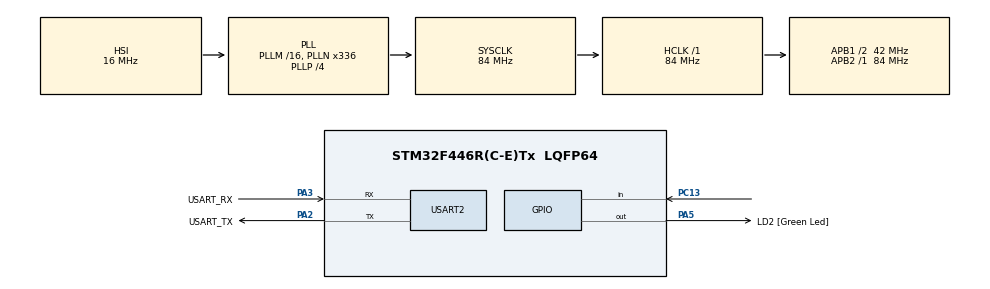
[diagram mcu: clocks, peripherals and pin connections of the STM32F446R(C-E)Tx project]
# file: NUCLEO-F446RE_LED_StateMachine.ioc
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Mcu.Family=STM32F4
Mcu.Name=STM32F446R(C-E)Tx
Mcu.Package=LQFP64
NVIC.PriorityGroup=NVIC_PRIORITYGROUP_0
PA13.GPIO_Label=TMS
PA13.Mode=Serial_Wire
PA13.Signal=SYS_JTMS-SWDIO
PA14.GPIO_Label=TCK
PA14.Mode=Serial_Wire
PA14.Signal=SYS_JTCK-SWCLK
PA2.GPIO_Label=USART_TX
PA2.Mode=Asynchronous
PA2.Signal=USART2_TX
PA3.GPIO_Label=USART_RX
PA3.Mode=Asynchronous
PA3.Signal=USART2_RX
PA5.GPIO_Label=LD2 [Green Led]
PA5.Signal=GPIO_Output
PB3.GPIO_Label=SWO
PB3.Signal=SYS_JTDO-SWO
PC13.Signal=GPIO_Input
PC14-OSC32_IN.Mode=LSE-External-Oscillator
PC14-OSC32_IN.Signal=RCC_OSC32_IN
PC15-OSC32_OUT.Mode=LSE-External-Oscillator
PC15-OSC32_OUT.Signal=RCC_OSC32_OUT
PH0-OSC_IN.Mode=HSE-External-Oscillator
PH0-OSC_IN.Signal=RCC_OSC_IN
PH1-OSC_OUT.Mode=HSE-External-Oscillator
PH1-OSC_OUT.Signal=RCC_OSC_OUT
ProjectManager.HeapSize=0x200
ProjectManager.StackSize=0x400
ProjectManager.TargetToolchain=STM32CubeIDE
RCC.48MHZClocksFreq_Value=84000000
RCC.AHBFreq_Value=84000000
RCC.APB1CLKDivider=RCC_HCLK_DIV2
RCC.APB1Freq_Value=42000000
RCC.APB1TimFreq_Value=84000000
RCC.APB2Freq_Value=84000000
RCC.APB2TimFreq_Value=84000000
RCC.CortexFreq_Value=84000000
RCC.FLatency-AdvancedSettings=FLASH_LATENCY_2
RCC.HCLKFreq_Value=84000000
RCC.HSE_VALUE=8000000
RCC.HSI_VALUE=16000000
RCC.PLLN=336
RCC.PLLP=RCC_PLLP_DIV4
RCC.SYSCLKFreq_VALUE=84000000
RCC.SYSCLKSource=RCC_SYSCLKSOURCE_PLLCLK
RCC.USBFreq_Value=168000000
RCC.VCOOutputFreq_Value=336000000
USART2.VirtualMode=VM_ASYNC
board=NUCLEO-F446RE

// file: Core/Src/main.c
/* USER CODE BEGIN Header */
/**
  ******************************************************************************
  * @file           : main.c
  * @brief          : Main program body
  ******************************************************************************
  * @attention
  *
  * Copyright (c) 2026 STMicroelectronics.
  * All rights reserved.
  *
  * This software is licensed under terms that can be found in the LICENSE file
  * in the root directory of this software component.
  * If no LICENSE file comes with this software, it is provided AS-IS.
  *
  ******************************************************************************
  */
/* USER CODE END Header */
#include "main.h"

/* USER CODE BEGIN Includes */
#include "string.h"
/* USER CODE END Includes */

UART_HandleTypeDef huart2;

/* USER CODE BEGIN PV */

typedef enum {
	STATE_OFF,
	STATE_SLOW_BLINK,
	STATE_FAST_BLINK
} LED_State;

LED_State currentState = STATE_OFF;
uint32_t lastBlinkTime = 0;
uint32_t lastPressTime = 0;
uint8_t ledToggle = 0;

/* USER CODE END PV */

void SystemClock_Config(void);
static void MX_GPIO_Init(void);
static void MX_USART2_UART_Init(void);

/* USER CODE BEGIN 0 */
void sendMessage(const char *msg){
	HAL_UART_Transmit(&huart2,(uint8_t *)msg, strlen(msg), HAL_MAX_DELAY);
}
/* USER CODE END 0 */

int main(void)
{

  /* MCU Configuration--------------------------------------------------------*/

  /* Reset of all peripherals, Initializes the Flash interface and the Systick. */
  HAL_Init();

  /* Configure the system clock */
  SystemClock_Config();

  /* Initialize all configured peripherals */
  MX_GPIO_Init();
  MX_USART2_UART_Init();

  /* Infinite loop */
  /* USER CODE BEGIN WHILE */
  while (1)
  {
	  //Button debounce check
	  if(HAL_GPIO_ReadPin(GPIOC, GPIO_PIN_13) == GPIO_PIN_RESET){
		  if(HAL_GetTick() - lastPressTime > 200){
			  lastPressTime = HAL_GetTick();

			  //Advance state
			  currentState = (currentState + 1) % 3;

			  //Reset LED and notify via UART
			  HAL_GPIO_WritePin(GPIOA, GPIO_PIN_5, GPIO_PIN_RESET);
			  ledToggle = 0;
			  lastBlinkTime = HAL_GetTick();

			  if(currentState == STATE_OFF) sendMessage("State: OFF\r\n");
		  }
	  }

	  //Blink logic
	  if(currentState == STATE_SLOW_BLINK){
		  if(HAL_GetTick() - lastBlinkTime >= 500){
			  lastBlinkTime = HAL_GetTick();
			  HAL_GPIO_TogglePin(GPIOA, GPIO_PIN_5);
			  if(ledToggle) sendMessage("You should hire me!\r\n");
			  ledToggle = !ledToggle;
		  }
	  }else if(currentState == STATE_FAST_BLINK){
		  	  if(HAL_GetTick() - lastBlinkTime >= 100){
		  		  lastBlinkTime = HAL_GetTick();
		  		  HAL_GPIO_TogglePin(GPIOA, GPIO_PIN_5);
		  		if(ledToggle) sendMessage("You should REALLY hire me!\r\n");
		  		ledToggle = !ledToggle;
		  	  }
	  }else{
		  // STATE_OFF - ensure LED is off
		  HAL_GPIO_WritePin(GPIOA, GPIO_PIN_5, GPIO_PIN_RESET);
	  }
    /* USER CODE END WHILE */

  }
}

void SystemClock_Config(void)
{
  RCC_OscInitTypeDef RCC_OscInitStruct = {0};
  RCC_ClkInitTypeDef RCC_ClkInitStruct = {0};

  /** Configure the main internal regulator output voltage
  */
  __HAL_RCC_PWR_CLK_ENABLE();
  __HAL_PWR_VOLTAGESCALING_CONFIG(PWR_REGULATOR_VOLTAGE_SCALE3);

  /** Initializes the RCC Oscillators according to the specified parameters
  * in the RCC_OscInitTypeDef structure.
  */
  RCC_OscInitStruct.OscillatorType = RCC_OSCILLATORTYPE_HSI;
  RCC_OscInitStruct.HSIState = RCC_HSI_ON;
  RCC_OscInitStruct.HSICalibrationValue = RCC_HSICALIBRATION_DEFAULT;
  RCC_OscInitStruct.PLL.PLLState = RCC_PLL_ON;
  RCC_OscInitStruct.PLL.PLLSource = RCC_PLLSOURCE_HSI;
  RCC_OscInitStruct.PLL.PLLM = 16;
  RCC_OscInitStruct.PLL.PLLN = 336;
  RCC_OscInitStruct.PLL.PLLP = RCC_PLLP_DIV4;
  RCC_OscInitStruct.PLL.PLLQ = 2;
  RCC_OscInitStruct.PLL.PLLR = 2;
  if (HAL_RCC_OscConfig(&RCC_OscInitStruct) != HAL_OK)
  {
    Error_Handler();
  }

  /** Initializes the CPU, AHB and APB buses clocks
  */
  RCC_ClkInitStruct.ClockType = RCC_CLOCKTYPE_HCLK|RCC_CLOCKTYPE_SYSCLK
                              |RCC_CLOCKTYPE_PCLK1|RCC_CLOCKTYPE_PCLK2;
  RCC_ClkInitStruct.SYSCLKSource = RCC_SYSCLKSOURCE_PLLCLK;
  RCC_ClkInitStruct.AHBCLKDivider = RCC_SYSCLK_DIV1;
  RCC_ClkInitStruct.APB1CLKDivider = RCC_HCLK_DIV2;
  RCC_ClkInitStruct.APB2CLKDivider = RCC_HCLK_DIV1;

  if (HAL_RCC_ClockConfig(&RCC_ClkInitStruct, FLASH_LATENCY_2) != HAL_OK)
  {
    Error_Handler();
  }
}

static void MX_USART2_UART_Init(void)
{

  huart2.Instance = USART2;
  huart2.Init.BaudRate = 115200;
  huart2.Init.WordLength = UART_WORDLENGTH_8B;
  huart2.Init.StopBits = UART_STOPBITS_1;
  huart2.Init.Parity = UART_PARITY_NONE;
  huart2.Init.Mode = UART_MODE_TX_RX;
  huart2.Init.HwFlowCtl = UART_HWCONTROL_NONE;
  huart2.Init.OverSampling = UART_OVERSAMPLING_16;
  if (HAL_UART_Init(&huart2) != HAL_OK)
  {
    Error_Handler();
  }

}

static void MX_GPIO_Init(void)
{
  GPIO_InitTypeDef GPIO_InitStruct = {0};

  /* GPIO Ports Clock Enable */
  __HAL_RCC_GPIOC_CLK_ENABLE();
  __HAL_RCC_GPIOH_CLK_ENABLE();
  __HAL_RCC_GPIOA_CLK_ENABLE();
  __HAL_RCC_GPIOB_CLK_ENABLE();

  /*Configure GPIO pin Output Level */
  HAL_GPIO_WritePin(LD2_GPIO_Port, LD2_Pin, GPIO_PIN_RESET);

  /*Configure GPIO pin : PC13 */
  GPIO_InitStruct.Pin = GPIO_PIN_13;
  GPIO_InitStruct.Mode = GPIO_MODE_INPUT;
  GPIO_InitStruct.Pull = GPIO_NOPULL;
  HAL_GPIO_Init(GPIOC, &GPIO_InitStruct);

  /*Configure GPIO pin : LD2_Pin */
  GPIO_InitStruct.Pin = LD2_Pin;
  GPIO_InitStruct.Mode = GPIO_MODE_OUTPUT_PP;
  GPIO_InitStruct.Pull = GPIO_NOPULL;
  GPIO_InitStruct.Speed = GPIO_SPEED_FREQ_LOW;
  HAL_GPIO_Init(LD2_GPIO_Port, &GPIO_InitStruct);

}

void Error_Handler(void)
{
  __disable_irq();
  while (1)
  {
  }
}
